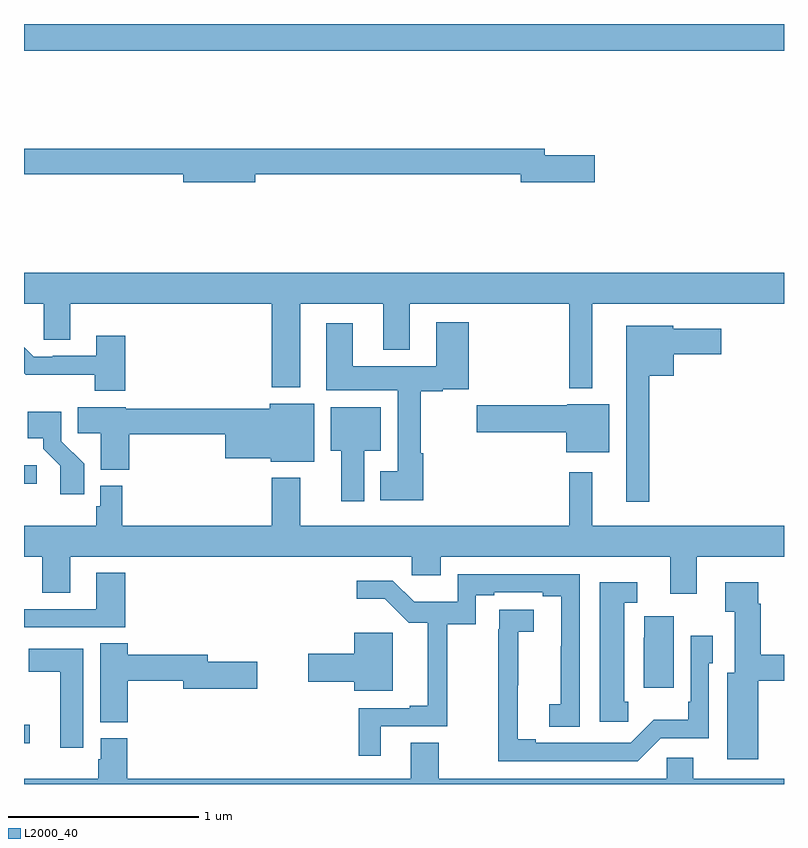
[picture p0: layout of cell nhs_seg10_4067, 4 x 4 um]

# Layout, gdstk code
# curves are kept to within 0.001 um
import gdstk
lib = gdstk.Library(unit=1e-6, precision=1e-09)
def R(c, l, rs):  # rectangles x0, y0, x1, y1
    for r in rs: c.add(gdstk.rectangle(r[:2], r[2:], *l))
def P(c, l, *ps):  # polygons
    for p in ps: c.add(gdstk.Polygon(p, *l))
L2000_40 = (2000, 40)

nhs_seg10_4067 = lib.new_cell('nhs_seg10_4067')
R(nhs_seg10_4067, L2000_40, [(337,1252.715,337.03,1252.812), (337,1254.079,337.066,1254.177), (337,1256.36,341,1256.5)])
P(nhs_seg10_4067, L2000_40, [(338.218,1255.708),(339.614,1255.708),(339.614,1255.666),(340.003,1255.666),(340.003,1255.808),(339.742,1255.808),(339.742,1255.844),(337,1255.844),(337,1255.708),(337.838,1255.708),(337.838,1255.666),(338.218,1255.666)],
  [(339.991,1255.028),(341,1255.028),(341,1255.192),(337,1255.192),(337,1255.028),(337.104,1255.028),(337.104,1254.838),(337.243,1254.838),(337.243,1255.028),(338.303,1255.028),(338.303,1254.587),(338.455,1254.587),(338.455,1255.028),(338.891,1255.028),(338.891,1254.785),(339.031,1254.785),(339.031,1255.028),(339.87,1255.028),(339.87,1254.584),(339.991,1254.584)],
  [(339.101,1254.241),(339.088,1254.241),(339.088,1254.566),(339.204,1254.566),(339.204,1254.578),(339.341,1254.578),(339.341,1254.931),(339.17,1254.931),(339.17,1254.7),(338.731,1254.7),(338.731,1254.925),(338.591,1254.925),(338.591,1254.572),(338.966,1254.572),(338.966,1254.145),(338.876,1254.145),(338.876,1253.993),(339.101,1253.993)],
  [(340.291,1254.65),(340.42,1254.65),(340.42,1254.761),(340.669,1254.761),(340.669,1254.895),(340.416,1254.895),(340.416,1254.913),(340.169,1254.913),(340.169,1253.985),(340.291,1253.985)],
  [(337.532,1254.859),(337.379,1254.859),(337.379,1254.753),(337.15,1254.753),(337.15,1254.75),(337.05,1254.75),(337,1254.8),(337,1254.662),(337.009,1254.653),(337.372,1254.654),(337.372,1254.569),(337.532,1254.569)],
  [(337.553,1254.34),(338.06,1254.34),(338.06,1254.215),(338.298,1254.215),(338.298,1254.197),(338.527,1254.197),(338.527,1254.502),(338.294,1254.502),(338.294,1254.476),(337.536,1254.476),(337.536,1254.484),(337.282,1254.484),(337.282,1254.346),(337.403,1254.346),(337.403,1254.155),(337.553,1254.155)],
  [(340.081,1254.499),(339.858,1254.499),(339.858,1254.494),(339.384,1254.494),(339.384,1254.352),(339.854,1254.352),(339.854,1254.245),(340.081,1254.245)],
  [(338.791,1254.254),(338.878,1254.254),(338.878,1254.484),(338.615,1254.484),(338.615,1254.254),(338.669,1254.254),(338.669,1253.988),(338.791,1253.988)],
  [(337.316,1254.186),(337.197,1254.305),(337.197,1254.46),(337.02,1254.46),(337.02,1254.32),(337.1,1254.32),(337.1,1254.265),(337.191,1254.175),(337.191,1254.024),(337.316,1254.024)],
  [(340.54,1253.696),(341,1253.696),(341,1253.86),(339.991,1253.86),(339.991,1254.142),(339.87,1254.142),(339.87,1253.86),(338.455,1253.86),(338.455,1254.112),(338.303,1254.112),(338.303,1253.86),(337.517,1253.86),(337.517,1254.07),(337.401,1254.07),(337.401,1253.961),(337.381,1253.961),(337.381,1253.86),(337,1253.86),(337,1253.696),(337.096,1253.696),(337.096,1253.506),(337.243,1253.506),(337.243,1253.696),(339.042,1253.696),(339.042,1253.598),(339.193,1253.598),(339.193,1253.696),(340.4,1253.696),(340.4,1253.502),(340.54,1253.502)],
  [(337.532,1253.611),(337.379,1253.611),(337.379,1253.421),(337,1253.421),(337,1253.325),(337.532,1253.325)],
  [(338.878,1252.803),(339.227,1252.803),(339.227,1253.341),(339.378,1253.341),(339.378,1253.494),(339.475,1253.494),(339.475,1253.508),(339.731,1253.508),(339.731,1253.488),(339.827,1253.488),(339.826,1252.921),(339.765,1252.921),(339.765,1252.801),(339.924,1252.801),(339.924,1253.604),(339.282,1253.604),(339.282,1253.458),(339.053,1253.458),(338.94,1253.571),(338.751,1253.571),(338.751,1253.474),(338.899,1253.474),(339.025,1253.349),(339.125,1253.349),(339.125,1252.912),(339.029,1252.912),(339.029,1252.899),(338.761,1252.899),(338.761,1252.65),(338.878,1252.65)],
  [(340.864,1253.044),(341,1253.044),(341,1253.18),(340.877,1253.18),(340.877,1253.45),(340.864,1253.45),(340.864,1253.563),(340.692,1253.563),(340.692,1253.407),(340.742,1253.407),(340.742,1253.086),(340.7,1253.086),(340.7,1252.629),(340.864,1252.629)],
  [(340.181,1252.932),(340.159,1252.932),(340.159,1253.455),(340.228,1253.455),(340.228,1253.563),(340.031,1253.563),(340.031,1252.827),(340.181,1252.827)],
  [(340.35,1252.74),(340.605,1252.74),(340.605,1253.136),(340.626,1253.136),(340.626,1253.281),(340.509,1253.281),(340.509,1252.933),(340.497,1252.933),(340.497,1252.837),(340.315,1252.837),(340.194,1252.716),(339.694,1252.716),(339.694,1252.736),(339.598,1252.736),(339.6,1253.302),(339.682,1253.302),(339.682,1253.417),(339.502,1253.417),(339.502,1253.315),(339.496,1253.315),(339.496,1252.62),(340.23,1252.62)],
  [(340.42,1253.383),(340.264,1253.383),(340.264,1253.27),(340.262,1253.27),(340.262,1253.007),(340.42,1253.007)],
  [(338.941,1253.296),(338.738,1253.296),(338.738,1253.186),(338.496,1253.186),(338.496,1253.039),(338.738,1253.039),(338.738,1252.991),(338.941,1252.991)],
  [(337.547,1253.044),(337.838,1253.044),(337.838,1253.002),(338.227,1253.002),(338.227,1253.144),(337.966,1253.144),(337.966,1253.18),(337.547,1253.18),(337.547,1253.24),(337.4,1253.24),(337.4,1252.825),(337.547,1252.825)],
  [(337.312,1253.212),(337.025,1253.212),(337.025,1253.09),(337.19,1253.09),(337.19,1252.692),(337.312,1252.692)],
  [(341,1252.528),(340.522,1252.528),(340.522,1252.638),(340.383,1252.638),(340.383,1252.528),(339.183,1252.528),(339.183,1252.718),(339.035,1252.718),(339.035,1252.528),(337.544,1252.528),(337.544,1252.74),(337.403,1252.74),(337.403,1252.629),(337.391,1252.629),(337.391,1252.528),(337,1252.528),(337,1252.5),(341,1252.5)])

lib.write_gds('nhs_seg10_4067.gds')
